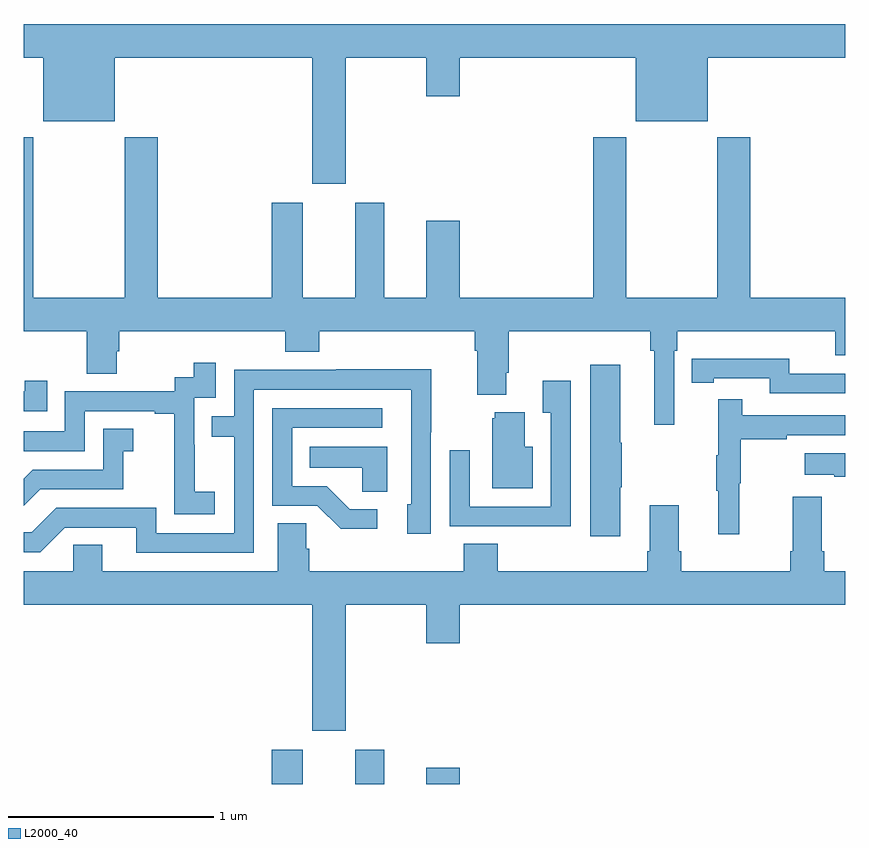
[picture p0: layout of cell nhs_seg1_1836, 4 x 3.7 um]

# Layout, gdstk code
import gdstk
lib = gdstk.Library(unit=1e-6, precision=1e-09)
def R(c, l, rs):  # rectangles x0, y0, x1, y1
    for r in rs: c.add(gdstk.rectangle(r[:2], r[2:], *l))
def P(c, l, *ps):  # polygons
    for p in ps: c.add(gdstk.Polygon(p, *l))
L2000_40 = (2000, 40)

nhs_seg1_1836 = lib.new_cell('nhs_seg1_1836')
R(nhs_seg1_1836, L2000_40, [(212.207,544.199,212.359,544.366), (212.615,544.199,212.755,544.366), (212.96,544.199,213.124,544.279)])
P(nhs_seg1_1836, L2000_40, [(212.569,547.736),(212.96,547.736),(212.96,547.548),(213.124,547.548),(213.124,547.736),(213.98,547.736),(213.98,547.427),(214.33,547.427),(214.33,547.736),(215,547.736),(215,547.9),(211,547.9),(211,547.736),(211.094,547.736),(211.094,547.427),(211.444,547.427),(211.444,547.736),(212.405,547.736),(212.405,547.122),(212.569,547.122)],
  [(214.167,546.308),(214.181,546.308),(214.181,546.404),(214.952,546.404),(214.952,546.287),(215,546.287),(215,546.568),(214.538,546.568),(214.538,547.348),(214.378,547.348),(214.378,546.568),(213.933,546.568),(213.933,547.348),(213.773,547.348),(213.773,546.568),(213.124,546.568),(213.124,546.943),(212.96,546.943),(212.96,546.568),(212.755,546.568),(212.755,547.03),(212.615,547.03),(212.615,546.568),(212.359,546.568),(212.359,547.03),(212.207,547.03),(212.207,546.568),(211.652,546.568),(211.652,547.348),(211.492,547.348),(211.492,546.568),(211.047,546.568),(211.047,547.348),(211,547.348),(211,546.404),(211.306,546.404),(211.306,546.196),(211.453,546.196),(211.453,546.306),(211.466,546.306),(211.466,546.404),(212.273,546.404),(212.273,546.305),(212.438,546.305),(212.438,546.404),(213.197,546.404),(213.197,546.308),(213.209,546.308),(213.209,546.095),(213.349,546.095),(213.349,546.202),(213.362,546.202),(213.362,546.404),(214.051,546.404),(214.051,546.308),(214.07,546.308),(214.07,545.949),(214.167,545.949)],
  [(215,546.198),(214.728,546.198),(214.728,546.271),(214.36,546.271),(214.36,546.27),(214.252,546.27),(214.252,546.154),(214.36,546.154),(214.36,546.174),(214.632,546.174),(214.632,546.102),(215,546.102)],
  [(211.93,545.623),(211.832,545.623),(211.832,545.852),(211.83,545.852),(211.83,546.081),(211.935,546.081),(211.935,546.25),(211.827,546.25),(211.827,546.18),(211.734,546.18),(211.734,546.111),(211.2,546.111),(211.2,545.916),(211,545.916),(211,545.82),(211.296,545.82),(211.296,546.015),(211.637,546.015),(211.637,546.003),(211.733,546.003),(211.733,545.719),(211.732,545.719),(211.732,545.513),(211.93,545.513)],
  [(213.904,545.644),(213.912,545.644),(213.912,545.861),(213.904,545.861),(213.904,546.241),(213.758,546.241),(213.758,545.406),(213.904,545.406)],
  [(212.121,546.12),(212.886,546.12),(212.886,545.562),(212.867,545.562),(212.867,545.418),(212.982,545.418),(212.982,545.911),(212.985,545.911),(212.985,546.218),(212.521,546.218),(212.521,546.216),(212.025,546.216),(212.025,545.991),(211.915,545.991),(211.915,545.89),(212.025,545.89),(212.025,545.421),(211.644,545.421),(211.644,545.544),(211.158,545.544),(211.038,545.424),(211,545.424),(211,545.328),(211.08,545.328),(211.2,545.448),(211.547,545.448),(211.547,545.325),(212.121,545.325)],
  [(211.115,546.163),(211.004,546.163),(211.004,546.111),(211,546.111),(211,546.015),(211.115,546.015)],
  [(213.663,546.163),(213.527,546.163),(213.527,546.007),(213.567,546.007),(213.567,545.55),(213.171,545.55),(213.171,545.824),(213.075,545.824),(213.075,545.454),(213.391,545.454),(213.391,545.453),(213.663,545.453)],
  [(214.484,545.664),(214.492,545.664),(214.492,545.878),(214.715,545.878),(214.715,545.898),(215,545.898),(215,545.994),(214.499,545.994),(214.499,546.073),(214.382,546.073),(214.382,545.801),(214.371,545.801),(214.371,545.627),(214.382,545.627),(214.382,545.415),(214.484,545.415)],
  [(212.722,545.538),(212.587,545.538),(212.476,545.649),(212.307,545.649),(212.307,545.934),(212.746,545.934),(212.746,546.03),(212.211,546.03),(212.211,545.553),(212.43,545.553),(212.543,545.441),(212.722,545.441)],
  [(213.478,545.842),(213.439,545.842),(213.439,546.01),(213.293,546.01),(213.293,545.979),(213.281,545.979),(213.281,545.639),(213.478,545.639)],
  [(211.081,545.634),(211.485,545.634),(211.485,545.819),(211.534,545.819),(211.534,545.929),(211.386,545.929),(211.386,545.73),(211.044,545.73),(211,545.686),(211,545.553)],
  [(212.77,545.842),(212.392,545.842),(212.392,545.738),(212.649,545.738),(212.649,545.623),(212.77,545.623)],
  [(215,545.809),(214.803,545.809),(214.803,545.705),(214.946,545.705),(214.946,545.695),(215,545.695)],
  [(212.569,545.072),(212.96,545.072),(212.96,544.884),(213.124,544.884),(213.124,545.072),(215,545.072),(215,545.236),(214.898,545.236),(214.898,545.332),(214.885,545.332),(214.885,545.599),(214.745,545.599),(214.745,545.332),(214.733,545.332),(214.733,545.236),(214.202,545.236),(214.202,545.332),(214.189,545.332),(214.189,545.557),(214.049,545.557),(214.049,545.332),(214.037,545.332),(214.037,545.236),(213.308,545.236),(213.308,545.369),(213.143,545.369),(213.143,545.236),(212.39,545.236),(212.39,545.345),(212.376,545.345),(212.376,545.468),(212.237,545.468),(212.237,545.236),(211.381,545.236),(211.381,545.363),(211.242,545.363),(211.242,545.236),(211,545.236),(211,545.072),(212.405,545.072),(212.405,544.458),(212.569,544.458)])

lib.write_gds('nhs_seg1_1836.gds')
